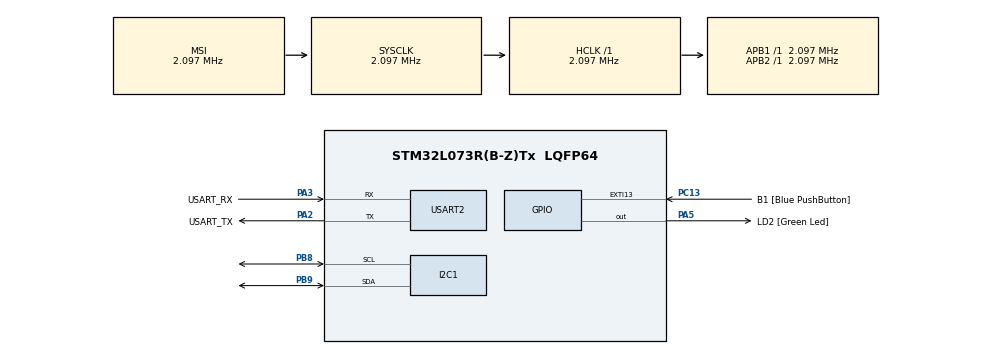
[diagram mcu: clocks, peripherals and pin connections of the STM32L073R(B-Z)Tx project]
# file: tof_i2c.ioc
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Mcu.Family=STM32L0
Mcu.Name=STM32L073R(B-Z)Tx
Mcu.Package=LQFP64
PA13.GPIO_Label=TMS
PA13.Mode=Serial_Wire
PA13.Signal=SYS_SWDIO
PA14.GPIO_Label=TCK
PA14.Mode=Serial_Wire
PA14.Signal=SYS_SWCLK
PA2.GPIO_Label=USART_TX
PA2.Mode=Asynchronous
PA2.Signal=USART2_TX
PA3.GPIO_Label=USART_RX
PA3.Mode=Asynchronous
PA3.Signal=USART2_RX
PA5.GPIO_Label=LD2 [Green Led]
PA5.Signal=GPIO_Output
PB8.Mode=I2C
PB8.Signal=I2C1_SCL
PB9.Mode=I2C
PB9.Signal=I2C1_SDA
PC13.GPIO_Label=B1 [Blue PushButton]
PC13.GPIO_ModeDefaultEXTI=GPIO_MODE_IT_FALLING
PC13.Signal=GPXTI13
PC14-OSC32_IN.Mode=LSE-External-Oscillator
PC14-OSC32_IN.Signal=RCC_OSC32_IN
PC15-OSC32_OUT.Mode=LSE-External-Oscillator
PC15-OSC32_OUT.Signal=RCC_OSC32_OUT
PH0-OSC_IN.GPIO_Label=MCO
PH0-OSC_IN.Mode=HSE-External-Clock-Source
PH0-OSC_IN.Signal=RCC_OSC_IN
ProjectManager.HeapSize=0x200
ProjectManager.StackSize=0x400
ProjectManager.TargetToolchain=STM32CubeIDE
RCC.AHBFreq_Value=2097000
RCC.APB1Freq_Value=2097000
RCC.APB1TimFreq_Value=2097000
RCC.APB2Freq_Value=2097000
RCC.APB2TimFreq_Value=2097000
RCC.HSE_VALUE=8000000
RCC.HSI16_VALUE=16000000
RCC.HSI48_VALUE=48000000
RCC.HSI_VALUE=16000000
RCC.MSI_VALUE=2097000
RCC.SYSCLKFreq_VALUE=2097000
RCC.VCOOutputFreq_Value=48000000
USART2.VirtualMode-Asynchronous=VM_ASYNC
board=NUCLEO-L073RZ

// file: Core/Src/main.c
/* USER CODE BEGIN Header */
/**
  ******************************************************************************
  * @file           : main.c
  * @brief          : Main program body
  ******************************************************************************
  * @attention
  *
  * Copyright (c) 2023 STMicroelectronics.
  * All rights reserved.
  *
  * This software is licensed under terms that can be found in the LICENSE file
  * in the root directory of this software component.
  * If no LICENSE file comes with this software, it is provided AS-IS.
  *
  ******************************************************************************
  */
/* USER CODE END Header */
#include "main.h"

/* USER CODE BEGIN Includes */
#include<string.h>
/* USER CODE END Includes */

I2C_HandleTypeDef hi2c1;

UART_HandleTypeDef huart2;

/* USER CODE BEGIN PV */
static const uint8_t TOF_WRITE = 0x52;
static const uint8_t TOF_READ = 0x53;
static const uint16_t TOF_REF = 0xFFFF;
/* USER CODE END PV */

void SystemClock_Config(void);
static void MX_GPIO_Init(void);
static void MX_USART2_UART_Init(void);
static void MX_I2C1_Init(void);

int main(void)
{
  /* USER CODE BEGIN 1 */
	HAL_StatusTypeDef ret;
	uint8_t buf[12];
	int16_t val;
  /* USER CODE END 1 */

  /* MCU Configuration--------------------------------------------------------*/

  /* Reset of all peripherals, Initializes the Flash interface and the Systick. */
  HAL_Init();

  /* Configure the system clock */
  SystemClock_Config();

  /* Initialize all configured peripherals */
  MX_GPIO_Init();
  MX_USART2_UART_Init();
  MX_I2C1_Init();

  /* Infinite loop */
  /* USER CODE BEGIN WHILE */
  while (1)
  {
	  //buf[0] = (uint8_t)((TOF_REF && 0xFF00) >> 8);
	  //buf[1] = (uint8_t)(TOF_REF && 0x00FF);
	  buf[0] = 0x01;
	  buf[1] = 0x0F;

	  ret = HAL_I2C_Master_Transmit(&hi2c1, TOF_WRITE, buf, 2, 2000);
	  if (ret != HAL_OK) {
		  strcpy((char*)buf, "Error Tx\r\n");
	  }
	  else {
		  ret = HAL_I2C_Master_Receive(&hi2c1, TOF_READ, buf, 1, 2000);
		  if ( ret != HAL_OK ) {
			  strcpy((char*)buf, "Error Rx\r\n");
		  }
	  }
	  uint8_t data = (uint8_t)buf[0];
	  char str[100];
	  sprintf(str, "%d", data);

	  //strcpy((char*)buf, "Hello!\r\n");
	  HAL_UART_Transmit(&huart2, str, strlen(str), HAL_MAX_DELAY);
	  HAL_Delay(500);
	  /* USER CODE END WHILE */

  }
}

void SystemClock_Config(void)
{
  RCC_OscInitTypeDef RCC_OscInitStruct = {0};
  RCC_ClkInitTypeDef RCC_ClkInitStruct = {0};
  RCC_PeriphCLKInitTypeDef PeriphClkInit = {0};

  /** Configure the main internal regulator output voltage
  */
  __HAL_PWR_VOLTAGESCALING_CONFIG(PWR_REGULATOR_VOLTAGE_SCALE1);

  /** Initializes the RCC Oscillators according to the specified parameters
  * in the RCC_OscInitTypeDef structure.
  */
  RCC_OscInitStruct.OscillatorType = RCC_OSCILLATORTYPE_MSI;
  RCC_OscInitStruct.MSIState = RCC_MSI_ON;
  RCC_OscInitStruct.MSICalibrationValue = 0;
  RCC_OscInitStruct.MSIClockRange = RCC_MSIRANGE_5;
  RCC_OscInitStruct.PLL.PLLState = RCC_PLL_NONE;
  if (HAL_RCC_OscConfig(&RCC_OscInitStruct) != HAL_OK)
  {
    Error_Handler();
  }

  /** Initializes the CPU, AHB and APB buses clocks
  */
  RCC_ClkInitStruct.ClockType = RCC_CLOCKTYPE_HCLK|RCC_CLOCKTYPE_SYSCLK
                              |RCC_CLOCKTYPE_PCLK1|RCC_CLOCKTYPE_PCLK2;
  RCC_ClkInitStruct.SYSCLKSource = RCC_SYSCLKSOURCE_MSI;
  RCC_ClkInitStruct.AHBCLKDivider = RCC_SYSCLK_DIV1;
  RCC_ClkInitStruct.APB1CLKDivider = RCC_HCLK_DIV1;
  RCC_ClkInitStruct.APB2CLKDivider = RCC_HCLK_DIV1;

  if (HAL_RCC_ClockConfig(&RCC_ClkInitStruct, FLASH_LATENCY_0) != HAL_OK)
  {
    Error_Handler();
  }
  PeriphClkInit.PeriphClockSelection = RCC_PERIPHCLK_USART2|RCC_PERIPHCLK_I2C1;
  PeriphClkInit.Usart2ClockSelection = RCC_USART2CLKSOURCE_PCLK1;
  PeriphClkInit.I2c1ClockSelection = RCC_I2C1CLKSOURCE_PCLK1;
  if (HAL_RCCEx_PeriphCLKConfig(&PeriphClkInit) != HAL_OK)
  {
    Error_Handler();
  }
}

static void MX_I2C1_Init(void)
{

  hi2c1.Instance = I2C1;
  hi2c1.Init.Timing = 0x00000708;
  hi2c1.Init.OwnAddress1 = 0;
  hi2c1.Init.AddressingMode = I2C_ADDRESSINGMODE_7BIT;
  hi2c1.Init.DualAddressMode = I2C_DUALADDRESS_DISABLE;
  hi2c1.Init.OwnAddress2 = 0;
  hi2c1.Init.OwnAddress2Masks = I2C_OA2_NOMASK;
  hi2c1.Init.GeneralCallMode = I2C_GENERALCALL_DISABLE;
  hi2c1.Init.NoStretchMode = I2C_NOSTRETCH_DISABLE;
  if (HAL_I2C_Init(&hi2c1) != HAL_OK)
  {
    Error_Handler();
  }

  /** Configure Analogue filter
  */
  if (HAL_I2CEx_ConfigAnalogFilter(&hi2c1, I2C_ANALOGFILTER_ENABLE) != HAL_OK)
  {
    Error_Handler();
  }

  /** Configure Digital filter
  */
  if (HAL_I2CEx_ConfigDigitalFilter(&hi2c1, 0) != HAL_OK)
  {
    Error_Handler();
  }

}

static void MX_USART2_UART_Init(void)
{

  huart2.Instance = USART2;
  huart2.Init.BaudRate = 115200;
  huart2.Init.WordLength = UART_WORDLENGTH_8B;
  huart2.Init.StopBits = UART_STOPBITS_1;
  huart2.Init.Parity = UART_PARITY_NONE;
  huart2.Init.Mode = UART_MODE_TX_RX;
  huart2.Init.HwFlowCtl = UART_HWCONTROL_NONE;
  huart2.Init.OverSampling = UART_OVERSAMPLING_16;
  huart2.Init.OneBitSampling = UART_ONE_BIT_SAMPLE_DISABLE;
  huart2.AdvancedInit.AdvFeatureInit = UART_ADVFEATURE_NO_INIT;
  if (HAL_UART_Init(&huart2) != HAL_OK)
  {
    Error_Handler();
  }

}

static void MX_GPIO_Init(void)
{
  GPIO_InitTypeDef GPIO_InitStruct = {0};

  /* GPIO Ports Clock Enable */
  __HAL_RCC_GPIOC_CLK_ENABLE();
  __HAL_RCC_GPIOH_CLK_ENABLE();
  __HAL_RCC_GPIOA_CLK_ENABLE();
  __HAL_RCC_GPIOB_CLK_ENABLE();

  /*Configure GPIO pin Output Level */
  HAL_GPIO_WritePin(LD2_GPIO_Port, LD2_Pin, GPIO_PIN_RESET);

  /*Configure GPIO pin : B1_Pin */
  GPIO_InitStruct.Pin = B1_Pin;
  GPIO_InitStruct.Mode = GPIO_MODE_IT_FALLING;
  GPIO_InitStruct.Pull = GPIO_NOPULL;
  HAL_GPIO_Init(B1_GPIO_Port, &GPIO_InitStruct);

  /*Configure GPIO pin : LD2_Pin */
  GPIO_InitStruct.Pin = LD2_Pin;
  GPIO_InitStruct.Mode = GPIO_MODE_OUTPUT_PP;
  GPIO_InitStruct.Pull = GPIO_NOPULL;
  GPIO_InitStruct.Speed = GPIO_SPEED_FREQ_LOW;
  HAL_GPIO_Init(LD2_GPIO_Port, &GPIO_InitStruct);

}

void Error_Handler(void)
{
  __disable_irq();
  while (1)
  {
  }
}
